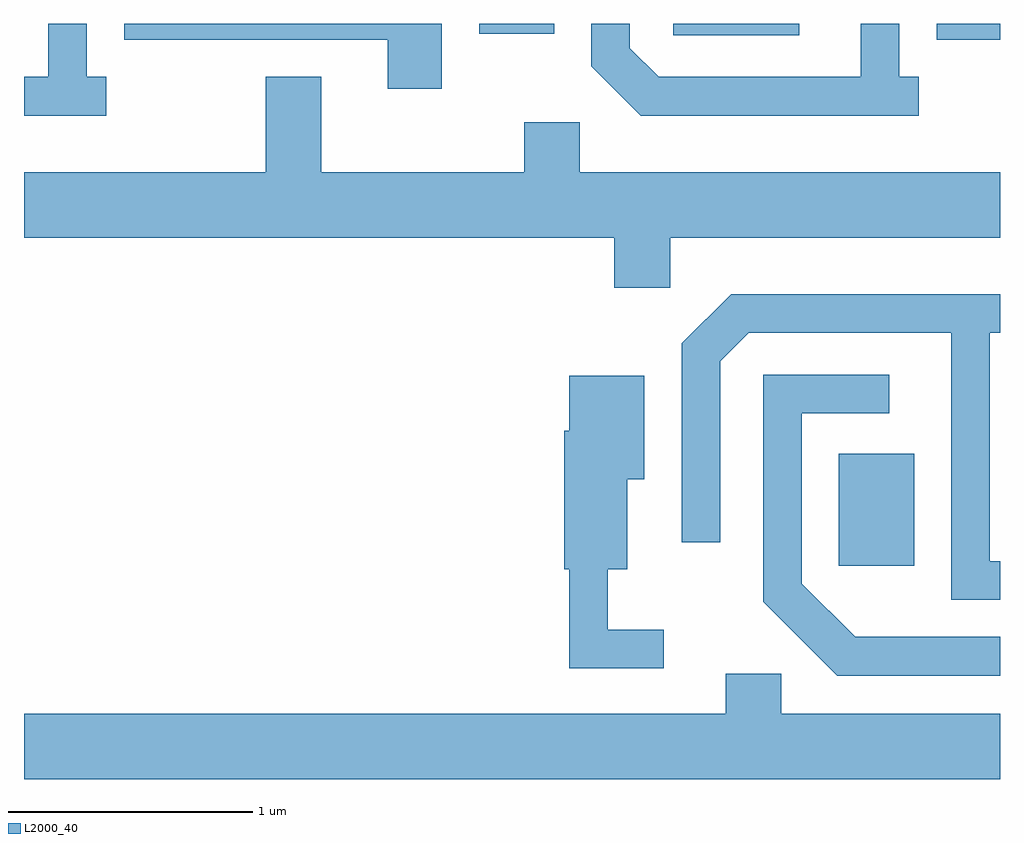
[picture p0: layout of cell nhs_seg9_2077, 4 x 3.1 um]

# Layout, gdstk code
import gdstk
lib = gdstk.Library(unit=1e-6, precision=1e-09)
def R(c, l, rs):  # rectangles x0, y0, x1, y1
    for r in rs: c.add(gdstk.rectangle(r[:2], r[2:], *l))
def P(c, l, *ps):  # polygons
    for p in ps: c.add(gdstk.Polygon(p, *l))
L2000_40 = (2000, 40)

nhs_seg9_2077 = lib.new_cell('nhs_seg9_2077')
R(nhs_seg9_2077, L2000_40, [(248.951,2028.211,249.259,2028.669), (249.351,2030.366,249.611,2030.432), (248.271,2030.386,248.788,2030.432), (247.476,2030.391,247.784,2030.432)])
P(nhs_seg9_2077, L2000_40, [(247.324,2030.432),(246.021,2030.432),(246.021,2030.366),(247.101,2030.366),(247.101,2030.166),(247.324,2030.166)],
  [(245.948,2030.214),(245.869,2030.214),(245.869,2030.432),(245.711,2030.432),(245.711,2030.214),(245.611,2030.214),(245.611,2030.056),(245.948,2030.056)],
  [(249.278,2030.214),(249.199,2030.214),(249.199,2030.432),(249.041,2030.432),(249.041,2030.214),(248.212,2030.214),(248.094,2030.332),(248.094,2030.432),(247.936,2030.432),(247.936,2030.259),(248.139,2030.056),(249.278,2030.056)],
  [(248.259,2029.556),(249.611,2029.556),(249.611,2029.824),(247.889,2029.824),(247.889,2030.029),(247.661,2030.029),(247.661,2029.824),(246.829,2029.824),(246.829,2030.214),(246.601,2030.214),(246.601,2029.824),(245.611,2029.824),(245.611,2029.556),(248.031,2029.556),(248.031,2029.351),(248.259,2029.351)],
  [(249.611,2028.229),(249.569,2028.229),(249.569,2029.166),(249.611,2029.166),(249.611,2029.324),(248.509,2029.324),(248.306,2029.122),(248.306,2028.308),(248.464,2028.308),(248.464,2029.049),(248.582,2029.166),(249.411,2029.166),(249.411,2028.071),(249.611,2028.071)],
  [(249.611,2027.919),(249.017,2027.919),(248.799,2028.137),(248.799,2028.836),(249.158,2028.836),(249.158,2028.994),(248.641,2028.994),(248.641,2028.064),(248.944,2027.761),(249.611,2027.761)],
  [(248.233,2027.949),(248.004,2027.949),(248.004,2028.196),(248.084,2028.196),(248.084,2028.566),(248.154,2028.566),(248.154,2028.989),(247.846,2028.989),(247.846,2028.764),(247.826,2028.764),(247.826,2028.196),(247.846,2028.196),(247.846,2027.791),(248.233,2027.791)],
  [(249.611,2027.604),(248.714,2027.604),(248.714,2027.769),(248.486,2027.769),(248.486,2027.604),(245.611,2027.604),(245.611,2027.336),(249.611,2027.336)])

lib.write_gds('nhs_seg9_2077.gds')
